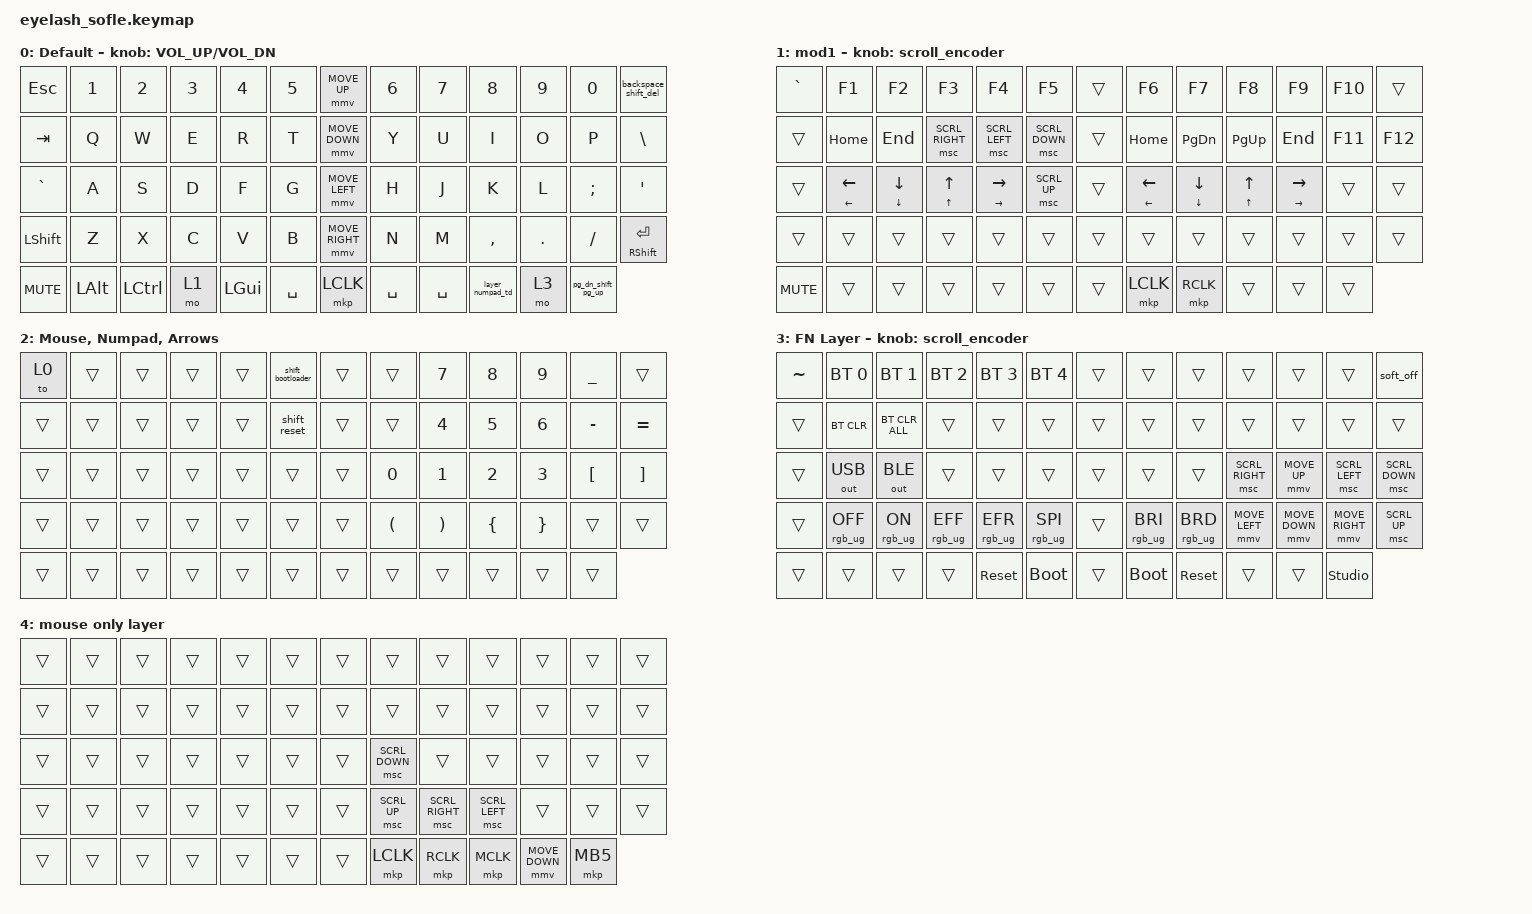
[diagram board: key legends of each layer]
#include <input/processors.dtsi>
#include <behaviors.dtsi>
#include <dt-bindings/zmk/bt.h>
#include <dt-bindings/zmk/keys.h>
#include <dt-bindings/zmk/outputs.h>
#include <dt-bindings/zmk/pointing.h>
#include <dt-bindings/zmk/pointing.h>
#include <dt-bindings/zmk/pointing.h>
#include <dt-bindings/zmk/rgb.h>

&mmv_input_listener { input-processors = <&zip_temp_layer_mouse 4 2000>; };

&msc_input_listener { input-processors = <&zip_temp_layer_mouse 4 2000>; };

&mkp_input_listener { input-processors = <&zip_temp_layer_mouse 4 2000>; };

#define ZMK_POINTING_DEFAULT_MOVE_VAL 2400  // default: 600
#define ZMK_POINTING_DEFAULT_SCRL_VAL 20    // default: 10

&mmv {
    acceleration-exponent = <1>;      // 1
    time-to-max-speed-ms = <1000>;    // 40
};

&msc {
    acceleration-exponent = <1>;      // 0
    time-to-max-speed-ms = <40>;      // 500
};

&soft_off {
};

/ {
    behaviors {
        mmv {
            acceleration-exponent = <2>;      // 1
            time-to-max-speed-ms = <2000>;    // 40
            delay-ms = <500>;                   // 0
        };

        msc {
            acceleration-exponent = <2>;      // 0
            time-to-max-speed-ms = <400>;      // 500
            delay-ms = <0>;                   //   10
        };
    };

    /omit-if-no-ref/

    zip_temp_layer_mouse: zip_temp_layer_mouse {
        compatible = "zmk,input-processor-temp-layer";
        #input-processor-cells = <2>;
        require-prior-idle-ms = <2000>;
        excluded-positions = <59 60 61 62 63 46 33 45 58 6 32 19>;
    };

    scroll_encoder: scroll_encoder {
        compatible = "zmk,behavior-sensor-rotate";
        #sensor-binding-cells = <0>;
        bindings = <&msc SCRL_DOWN>, <&msc SCRL_UP>;

        tap-ms = <30>;
    };

    layer_numpad_td: layer_numpad_td {
        compatible = "zmk,behavior-tap-dance";
        label = "LAYER_NUMPAD_TD";
        #binding-cells = <0>;
        bindings = <&hold_tap_layer 2 2>, <&tog 2>;
    };

    hold_tap_layer: hold_tap_layer {
        compatible = "zmk,behavior-hold-tap";
        label = "HOLD_TAP_LAYER";
        bindings = <&mo>, <&sl>;

        #binding-cells = <2>;
        tapping-term-ms = <200>;
        hold-while-undecided-linger;
        hold-while-undecided;
    };

    shift_bootloader: shift_bootloader {
        compatible = "zmk,behavior-mod-morph";
        label = "SHIFT_BOOTLOADER";
        bindings = <&trans>, <&bootloader>;

        #binding-cells = <0>;
        mods = <(MOD_LSFT|MOD_RSFT)>;
    };

    shift_reset: shift_reset {
        compatible = "zmk,behavior-mod-morph";
        label = "SHIFT_RESET";
        bindings = <&trans>, <&sys_reset>;

        #binding-cells = <0>;
        mods = <(MOD_LSFT|MOD_RSFT)>;
    };

    backspace_shift_del: backspace_shift_del {
        compatible = "zmk,behavior-mod-morph";
        label = "BACKSPACE_SHIFT_DEL";
        bindings = <&kp BACKSPACE>, <&kp DELETE>;

        #binding-cells = <0>;
        mods = <(MOD_RSFT|MOD_LSFT)>;
    };

    hold_tap_macro_5_8: hold_tap_macro_5_8 {
        compatible = "zmk,behavior-hold-tap";
        label = "HOLD_TAP_MACRO_5_8";
        bindings = <&macro_8>, <&macro_5>;

        #binding-cells = <2>;
        tapping-term-ms = <200>;
    };

    hold_tap_mouse_scroll: hold_tap_mouse_scroll {
        compatible = "zmk,behavior-hold-tap";
        label = "HOLD_TAP_MOUSE_SCROLL";
        bindings = <&msc>, <&mouse_scroll_fast>;

        #binding-cells = <2>;
        tapping-term-ms = <200>;
    };

    hold_tap_macro_1_8: hold_tap_macro_1_8 {
        compatible = "zmk,behavior-hold-tap";
        label = "HOLD_TAP_MACRO_1_8";
        bindings = <&macro_8>, <&kp>;

        #binding-cells = <2>;
        tapping-term-ms = <200>;
    };

    pg_dn_shift_pg_up: pg_dn_shift_pg_up {
        compatible = "zmk,behavior-mod-morph";
        label = "PG_DN_SHIFT_PG_UP";
        bindings = <&kp PAGE_DOWN>, <&kp PAGE_UP>;

        #binding-cells = <0>;
        mods = <(MOD_RSFT|MOD_LSFT)>;
    };

    macros {
        macro_5: macro_5 {
            compatible = "zmk,behavior-macro-one-param";
            #binding-cells = <1>;
            bindings = <&macro_param_1to1 &kp MACRO_PLACEHOLDER &macro_param_1to1 &kp MACRO_PLACEHOLDER &macro_param_1to1 &kp MACRO_PLACEHOLDER &macro_param_1to1 &kp MACRO_PLACEHOLDER &macro_param_1to1 &kp MACRO_PLACEHOLDER>;
        };

        mouse_layer_on_move: mouse_layer_on_move {
            compatible = "zmk,behavior-macro-two-param";
            #binding-cells = <2>;
            bindings =
                <&macro_press>,
                <&macro_param_1to1 &mmv MACRO_PLACEHOLDER &macro_param_2to1 &sl MACRO_PLACEHOLDER>,
                <&macro_pause_for_release>,
                <&macro_release>,
                <&macro_param_1to1 &mmv MACRO_PLACEHOLDER &macro_param_2to1 &sl MACRO_PLACEHOLDER>;

            label = "MOUSE_LAYER_ON_MOVE";
        };

        mouse_layer_on_mouse_press: mouse_layer_on_mouse_press {
            compatible = "zmk,behavior-macro-two-param";
            #binding-cells = <2>;
            bindings =
                <&macro_press>,
                <&macro_param_1to1 &mkp MACRO_PLACEHOLDER &macro_param_2to1 &sl MACRO_PLACEHOLDER>,
                <&macro_pause_for_release>,
                <&macro_release>,
                <&macro_param_1to1 &mkp MACRO_PLACEHOLDER &macro_param_2to1 &sl MACRO_PLACEHOLDER>;

            label = "MOUSE_LAYER_ON_MOUSE_PRESS";
        };

        mouse_layer_on_mouse_scroll: mouse_layer_on_mouse_scroll {
            compatible = "zmk,behavior-macro-two-param";
            #binding-cells = <2>;
            bindings =
                <&macro_press>,
                <&macro_param_1to1 &msc MACRO_PLACEHOLDER &macro_param_2to1 &sl MACRO_PLACEHOLDER>,
                <&macro_pause_for_release>,
                <&macro_release>,
                <&macro_param_1to1 &msc MACRO_PLACEHOLDER &macro_param_2to1 &sl MACRO_PLACEHOLDER>;

            label = "MOUSE_LAYER_ON_MOUSE_SCROLL";
        };

        mouse_scroll_fast: mouse_scroll_macro_5 {
            compatible = "zmk,behavior-macro-one-param";
            #binding-cells = <1>;
            bindings =
                <&macro_press>,
                <&macro_param_1to1 &msc MACRO_PLACEHOLDER>,
                <&macro_pause_for_release>,
                <&macro_release>,
                <&macro_param_1to1 &msc MACRO_PLACEHOLDER>;

            label = "MOUSE_SCROLL_MACRO_5";
        };

        macro_8: macro_15 {
            compatible = "zmk,behavior-macro-one-param";
            #binding-cells = <1>;
            bindings = <&macro_param_1to1 &kp MACRO_PLACEHOLDER &macro_param_1to1 &kp MACRO_PLACEHOLDER &macro_param_1to1 &kp MACRO_PLACEHOLDER &macro_param_1to1 &kp MACRO_PLACEHOLDER &macro_param_1to1 &kp MACRO_PLACEHOLDER &macro_param_1to1 &kp MACRO_PLACEHOLDER &macro_param_1to1 &kp MACRO_PLACEHOLDER &macro_param_1to1 &kp MACRO_PLACEHOLDER>;
            label = "MACRO_15";
        };
    };

    keymap {
        compatible = "zmk,keymap";

        layer0 {
            bindings = <
&kp ESC     &kp N1        &kp N2            &kp N3  &kp N4        &kp N5       &mmv MOVE_UP     &kp N6     &kp N7     &kp N8            &kp N9   &kp N0              &backspace_shift_del
&kp TAB     &kp Q         &kp W             &kp E   &kp R         &kp T        &mmv MOVE_DOWN   &kp Y      &kp U      &kp I             &kp O    &kp P               &kp BSLH
&kp GRAVE   &kp A         &kp S             &kp D   &kp F         &kp G        &mmv MOVE_LEFT   &kp H      &kp J      &kp K             &kp L    &kp SEMI            &kp APOS
&kp LSHFT   &kp Z         &kp X             &kp C   &kp V         &kp B        &mmv MOVE_RIGHT  &kp N      &kp M      &kp COMMA         &kp DOT  &kp FSLH            &mt RIGHT_SHIFT ENTER
&kp C_MUTE  &kp LEFT_ALT  &kp LEFT_CONTROL  &mo 1   &kp LEFT_GUI  &kp SPACE    &mkp LCLK        &kp SPACE  &kp SPACE  &layer_numpad_td  &mo 3    &pg_dn_shift_pg_up
            >;

            sensor-bindings = <&inc_dec_kp C_VOLUME_UP C_VOL_DN>;
            display-name = "Default";
        };

        arrows_alt {
            bindings = <
&kp GRAVE   &kp F1                         &kp F2                         &kp F3                                 &kp F4                           &kp F5            &trans  &kp F6                         &kp F7                         &kp F8                           &kp F9                           &kp F10  &trans
&trans      &kp HOME                       &kp END                        &msc SCRL_RIGHT                        &msc SCRL_LEFT                   &msc SCRL_DOWN    &trans  &kp HOME                       &kp PAGE_DOWN                  &kp PAGE_UP                      &kp END                          &kp F11  &kp F12
&trans      &hold_tap_macro_5_8 LEFT LEFT  &hold_tap_macro_5_8 DOWN DOWN  &hold_tap_macro_5_8 UP_ARROW UP_ARROW  &hold_tap_macro_5_8 RIGHT RIGHT  &msc SCRL_UP      &trans  &hold_tap_macro_1_8 LEFT LEFT  &hold_tap_macro_1_8 DOWN DOWN  &hold_tap_macro_1_8 UP UP_ARROW  &hold_tap_macro_1_8 RIGHT RIGHT  &trans   &trans
&trans      &trans                         &trans                         &trans                                 &trans                           &trans            &trans  &trans                         &trans                         &trans                           &trans                           &trans   &trans
&kp C_MUTE  &trans                         &trans                         &trans                                 &trans                           &trans            &trans  &mkp LCLK                      &mkp RCLK                      &trans                           &trans                           &trans
            >;

            display-name = "mod1";
            sensor-bindings = <&scroll_encoder>;
        };

        numpad_alt2 {
            bindings = <
&to 0   &trans  &trans  &trans  &trans  &shift_bootloader    &trans  &trans                &kp N7                 &kp N8          &kp N9           &kp UNDER         &trans
&trans  &trans  &trans  &trans  &trans  &shift_reset         &trans  &trans                &kp NUMBER_4           &kp N5          &kp NUMBER_6     &kp MINUS         &kp EQUAL
&trans  &trans  &trans  &trans  &trans  &trans               &trans  &kp NUMBER_0          &kp NUMBER_1           &kp NUMBER_2    &kp NUMBER_3     &kp LEFT_BRACKET  &kp RIGHT_BRACKET
&trans  &trans  &trans  &trans  &trans  &trans               &trans  &kp LEFT_PARENTHESIS  &kp RIGHT_PARENTHESIS  &kp LEFT_BRACE  &kp RIGHT_BRACE  &trans            &trans
&trans  &trans  &trans  &trans  &trans  &trans               &trans  &trans                &trans                 &trans          &trans           &trans
            >;

            label = "Mouse, Numpad, Arrows";
        };

        fn_layer {
            bindings = <
&kp TILDE  &bt BT_SEL 0     &bt BT_SEL 1    &bt BT_SEL 2     &bt BT_SEL 3     &bt BT_SEL 4       &trans  &trans           &trans           &trans           &trans          &trans           &soft_off
&trans     &bt BT_CLR       &bt BT_CLR_ALL  &trans           &trans           &trans             &trans  &trans           &trans           &trans           &trans          &trans           &trans
&trans     &out OUT_USB     &out OUT_BLE    &trans           &trans           &trans             &trans  &trans           &trans           &msc SCRL_RIGHT  &mmv MOVE_UP    &msc SCRL_LEFT   &msc SCRL_DOWN
&trans     &rgb_ug RGB_OFF  &rgb_ug RGB_ON  &rgb_ug RGB_EFF  &rgb_ug RGB_EFR  &rgb_ug RGB_SPI    &trans  &rgb_ug RGB_BRI  &rgb_ug RGB_BRD  &mmv MOVE_LEFT   &mmv MOVE_DOWN  &mmv MOVE_RIGHT  &msc SCRL_UP
&trans     &trans           &trans          &trans           &sys_reset       &bootloader        &trans  &bootloader      &sys_reset       &trans           &trans          &studio_unlock
            >;

            sensor-bindings = <&scroll_encoder>;
            label = "FN Layer";
        };

        temp_mouse_layer {
            bindings = <
&trans  &trans  &trans  &trans  &trans  &trans    &trans  &trans          &trans           &trans          &trans          &trans    &trans
&trans  &trans  &trans  &trans  &trans  &trans    &trans  &trans          &trans           &trans          &trans          &trans    &trans
&trans  &trans  &trans  &trans  &trans  &trans    &trans  &msc SCRL_DOWN  &trans           &trans          &trans          &trans    &trans
&trans  &trans  &trans  &trans  &trans  &trans    &trans  &msc SCRL_UP    &msc SCRL_RIGHT  &msc SCRL_LEFT  &trans          &trans    &trans
&trans  &trans  &trans  &trans  &trans  &trans    &trans  &mkp LCLK       &mkp RCLK        &mkp MCLK       &mmv MOVE_DOWN  &mkp MB5
            >;

            label = " mouse only layer";
        };
    };
};
